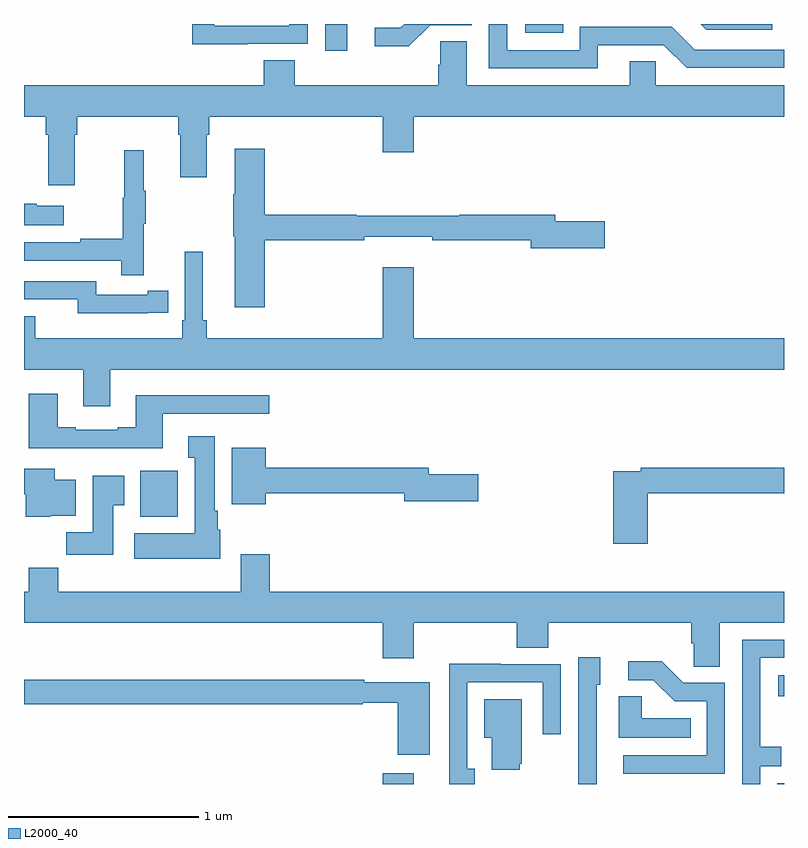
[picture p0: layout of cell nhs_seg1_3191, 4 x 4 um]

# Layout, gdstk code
import gdstk
lib = gdstk.Library(unit=1e-6, precision=1e-09)
def R(c, l, rs):  # rectangles x0, y0, x1, y1
    for r in rs: c.add(gdstk.rectangle(r[:2], r[2:], *l))
def P(c, l, *ps):  # polygons
    for p in ps: c.add(gdstk.Polygon(p, *l))
L2000_40 = (2000, 40)

nhs_seg1_3191 = lib.new_cell('nhs_seg1_3191')
R(nhs_seg1_3191, L2000_40, [(284.888,568.199,285.052,568.255), (286.965,568.199,287,568.203), (286.971,568.661,287,568.771), (283.613,569.606,283.81,569.848), (284.586,572.058,284.701,572.199), (285.639,572.153,285.837,572.199)])
P(nhs_seg1_3191, L2000_40, [(284.177,572.094),(284.493,572.094),(284.493,572.199),(284.397,572.199),(284.397,572.19),(284.001,572.19),(284.001,572.199),(283.885,572.199),(283.885,572.093),(284.177,572.093)],
  [(286.938,572.199),(286.562,572.199),(286.592,572.169),(286.938,572.169)],
  [(286.021,572.088),(286.368,572.088),(286.488,571.968),(287,571.968),(287,572.064),(286.53,572.064),(286.41,572.184),(285.924,572.184),(285.924,572.061),(285.543,572.061),(285.543,572.199),(285.447,572.199),(285.447,571.965),(286.021,571.965)],
  [(285.138,572.193),(285.357,572.193),(285.357,572.199),(285.002,572.199),(284.981,572.178),(284.847,572.178),(284.847,572.081),(285.025,572.081)],
  [(283.267,571.616),(283.28,571.616),(283.28,571.712),(283.811,571.712),(283.811,571.616),(283.823,571.616),(283.823,571.392),(283.963,571.392),(283.963,571.616),(283.976,571.616),(283.976,571.712),(284.888,571.712),(284.888,571.524),(285.052,571.524),(285.052,571.712),(287,571.712),(287,571.876),(286.326,571.876),(286.326,572.003),(286.187,572.003),(286.187,571.876),(285.331,571.876),(285.331,572.108),(285.192,572.108),(285.192,571.985),(285.179,571.985),(285.179,571.876),(284.426,571.876),(284.426,572.009),(284.261,572.009),(284.261,571.876),(283,571.876),(283,571.712),(283.115,571.712),(283.115,571.616),(283.127,571.616),(283.127,571.35),(283.267,571.35)],
  [(284.267,571.06),(284.792,571.06),(284.792,571.079),(285.148,571.079),(285.148,571.06),(285.668,571.06),(285.668,571.018),(286.057,571.018),(286.057,571.16),(285.796,571.16),(285.796,571.196),(285.292,571.196),(285.292,571.189),(284.75,571.189),(284.75,571.196),(284.267,571.196),(284.267,571.543),(284.108,571.543),(284.108,571.304),(284.101,571.304),(284.101,571.083),(284.108,571.083),(284.108,570.708),(284.267,570.708)],
  [(283.631,571.147),(283.642,571.147),(283.642,571.321),(283.631,571.321),(283.631,571.534),(283.528,571.534),(283.528,571.284),(283.521,571.284),(283.521,571.07),(283.297,571.07),(283.297,571.05),(283,571.05),(283,570.954),(283.513,570.954),(283.513,570.876),(283.631,570.876)],
  [(283.21,571.243),(283.067,571.243),(283.067,571.253),(283,571.253),(283,571.139),(283.21,571.139)],
  [(283.845,571),(283.845,570.64),(283.832,570.64),(283.832,570.544),(283.06,570.544),(283.06,570.661),(283,570.661),(283,570.38),(283.313,570.38),(283.313,570.186),(283.453,570.186),(283.453,570.38),(287,570.38),(287,570.544),(285.052,570.544),(285.052,570.919),(284.888,570.919),(284.888,570.544),(283.961,570.544),(283.961,570.64),(283.942,570.64),(283.942,571)],
  [(283.652,570.678),(283.76,570.678),(283.76,570.794),(283.652,570.794),(283.652,570.774),(283.38,570.774),(283.38,570.846),(283,570.846),(283,570.75),(283.284,570.75),(283.284,570.677),(283.652,570.677)],
  [(283.729,570.147),(284.29,570.147),(284.29,570.244),(283.589,570.244),(283.589,570.076),(283.493,570.076),(283.493,570.063),(283.273,570.063),(283.273,570.076),(283.177,570.076),(283.177,570.253),(283.025,570.253),(283.025,569.966),(283.729,569.966)],
  [(284.032,569.538),(284.02,569.538),(284.02,569.638),(284.005,569.638),(284.005,570.028),(283.865,570.028),(283.865,569.915),(283.898,569.915),(283.898,569.518),(283.581,569.518),(283.581,569.384),(284.032,569.384)],
  [(284.272,569.728),(285.002,569.728),(285.002,569.686),(285.391,569.686),(285.391,569.828),(285.13,569.828),(285.13,569.864),(284.272,569.864),(284.272,569.968),(284.093,569.968),(284.093,569.672),(284.272,569.672)],
  [(286.283,569.728),(287,569.728),(287,569.864),(286.246,569.864),(286.246,569.844),(286.1,569.844),(286.1,569.463),(286.283,569.463)],
  [(283.14,569.612),(283.273,569.612),(283.273,569.8),(283.162,569.8),(283.162,569.857),(283,569.857),(283,569.723),(283.01,569.723),(283.01,569.606),(283.14,569.606)],
  [(283.471,569.665),(283.528,569.665),(283.528,569.821),(283.361,569.821),(283.361,569.524),(283.222,569.524),(283.222,569.406),(283.471,569.406)],
  [(286.663,569.048),(287,569.048),(287,569.212),(284.294,569.212),(284.294,569.407),(284.141,569.407),(284.141,569.212),(283.181,569.212),(283.181,569.336),(283.025,569.336),(283.025,569.212),(283,569.212),(283,569.048),(284.888,569.048),(284.888,568.86),(285.052,568.86),(285.052,569.048),(285.593,569.048),(285.593,568.915),(285.758,568.915),(285.758,569.048),(286.511,569.048),(286.511,568.939),(286.524,568.939),(286.524,568.816),(286.663,568.816)],
  [(286.875,568.293),(286.985,568.293),(286.985,568.394),(286.875,568.394),(286.875,568.863),(287,568.863),(287,568.959),(286.779,568.959),(286.779,568.199),(286.875,568.199)],
  [(286.014,568.722),(286.033,568.722),(286.033,568.867),(285.918,568.867),(285.918,568.373),(285.916,568.373),(285.916,568.199),(286.014,568.199)],
  [(286.689,568.731),(286.47,568.731),(286.357,568.844),(286.179,568.844),(286.179,568.746),(286.313,568.746),(286.424,568.635),(286.593,568.635),(286.593,568.35),(286.155,568.35),(286.155,568.254),(286.689,568.254)],
  [(285.373,568.278),(285.333,568.278),(285.333,568.734),(285.729,568.734),(285.729,568.461),(285.825,568.461),(285.825,568.83),(285.509,568.83),(285.509,568.832),(285.237,568.832),(285.237,568.199),(285.373,568.199)],
  [(285.136,568.734),(284.792,568.734),(284.792,568.747),(283,568.747),(283,568.618),(284.782,568.618),(284.782,568.626),(284.966,568.626),(284.966,568.353),(285.136,568.353)],
  [(286.508,568.546),(286.251,568.546),(286.251,568.661),(286.13,568.661),(286.13,568.442),(286.508,568.442)],
  [(285.608,568.305),(285.619,568.305),(285.619,568.645),(285.422,568.645),(285.422,568.442),(285.461,568.442),(285.461,568.274),(285.608,568.274)])

lib.write_gds('nhs_seg1_3191.gds')
